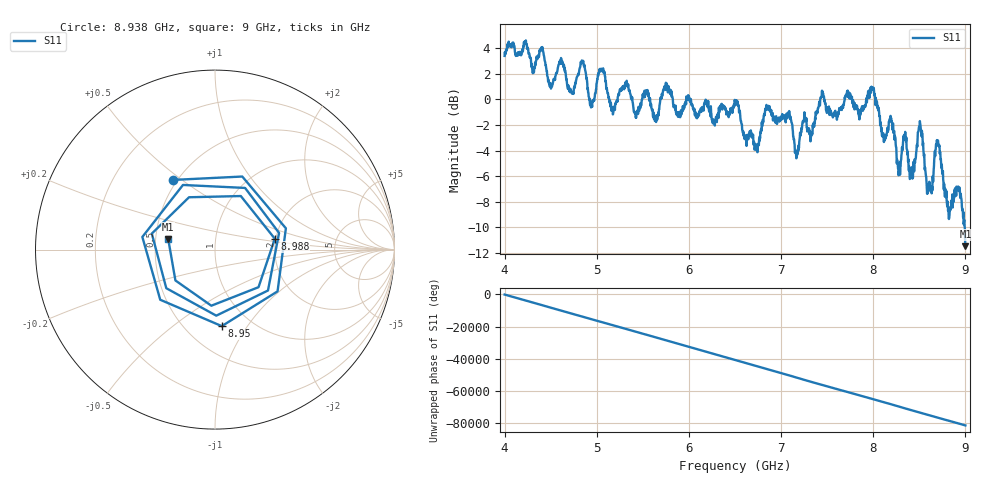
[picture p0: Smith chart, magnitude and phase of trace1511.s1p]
! Created with skrf 1.8.0 (http://scikit-rf.org).
# Hz S RI R 50.0
!freq ReS11 ImS11
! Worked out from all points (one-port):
!   1601 points, 4 GHz to 9 GHz, reference 50 ohm
!   lowest |S11| = -11.5 dB at 9 GHz (marker M1), VSWR 1.73, Z = 29.1 + j3.73 ohm
!   |S11| at or under -10 dB: 8.992746 GHz to end of sweep
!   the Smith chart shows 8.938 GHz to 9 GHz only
!   S11 on the Smith chart (normalised r, x): 8.938 GHz: 0.48, +0.47; 8.95 GHz: 0.74, -0.77; 8.988 GHz: 1.98, +0.27; 9 GHz: 0.58, +0.07
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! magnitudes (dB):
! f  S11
! 4 GHz  3.4
! 4.403 GHz  4.1
! 4.503 GHz  0.8
! 4.625 GHz  3.0
! 4.725 GHz  0.6
! 4.85 GHz  2.9
! 4.944 GHz  -0.3
! 5.044 GHz  2.2
! 5.172 GHz  -0.6
! 5.25 GHz  0.8
! 5.875 GHz  -1.2
! 6.5 GHz  -0.2
! 6.725 GHz  -3.8
! 6.85 GHz  -0.6
! 7.125 GHz  -2.3
! 7.75 GHz  0.4
! 7.991 GHz  0.9
! 8.278 GHz  -5.6
! 8.375 GHz  -4.1
! 8.422 GHz  -5.3
! 8.509 GHz  -1.9
! 8.603 GHz  -6.9
! 8.7 GHz  -3.2
! 8.822 GHz  -9.3
! 8.938 GHz  -6.9
! 8.95 GHz  -7.4
! 8.988 GHz  -9.4
! 9 GHz  -11.5
